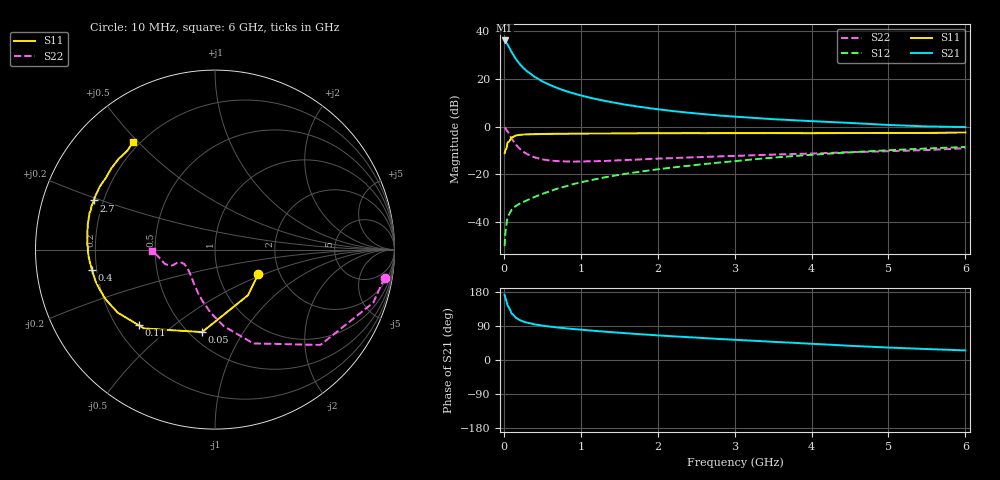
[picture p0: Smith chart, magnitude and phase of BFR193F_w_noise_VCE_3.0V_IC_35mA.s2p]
! Infineon Technologies  Discrete & RF Semiconductors
! BFR193F
! VCE =  3.0 V,  IC =  35 mA
! Common Emitter S-Parameters:  Jan 2017
# GHz  S  MA  R  50
!  f  S11  S21  S12  S22
! GHz  MAG  ANG  MAG  ANG  MAG  ANG  MAG  ANG
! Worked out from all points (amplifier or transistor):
!   77 points, 10 MHz to 6 GHz, reference 50 ohm
!   highest |S21| = 36.2 dB at 10 MHz (marker M1)
!   |S21| within 3 dB of that: start of sweep to 70.64 MHz
!   unconditionally stable (mu >= 1): 994.3 MHz to 2.669 GHz
!   at 130 MHz: K = 0.42, MSG = 31.9 dB, |S12| = -34.0 dB
!   at 2.2 GHz: K = 1.02, MAG = 11.0 dB, |S12| = -17.1 dB
!   at 6 GHz: K = 0.88, MSG = 4.2 dB, |S12| = -8.5 dB
!   lowest NFmin = 1.26 dB at 450 MHz
!   S11 on the Smith chart (normalised r, x): 10 MHz: 1.56, -0.45; 50 MHz: 0.58, -0.68; 110 MHz: 0.29, -0.38; 400 MHz: 0.18, -0.08; 2.7 GHz: 0.16, +0.19; 6 GHz: 0.17, +0.49
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0.01  0.2767 -29.2  64.27 171.9  0.0031 84.8  0.9575 -9.4
0.02  0.3136 -54.0  62.08 163.5  0.0058 74.5  0.9302 -18.5
0.05  0.4653 -98.9  52.64 143.4  0.0126 63.4  0.7922 -42.1
0.1  0.5909 -132.0  36.88 123.1  0.0178 52.7  0.5652 -67.7
0.11  0.5984 -135.2  34.86 121.5  0.0185 51.7  0.5355 -70.2
0.15  0.646 -147.1  27.16 112.6  0.0213 48.3  0.43 -83.4
0.2  0.6692 -155.5  21.18 106.1  0.0239 50.1  0.3517 -94.1
0.25  0.6809 -161.4  17.25 101.8  0.0262 51.5  0.2982 -102.9
0.3  0.6885 -165.2  14.56 98.7  0.0284 53.7  0.2672 -109.7
0.4  0.6946 -170.6  11.05 94.0  0.0335 58.3  0.2266 -120.7
0.5  0.7003 -174.0  8.903 90.8  0.0388 61.2  0.2052 -128.7
0.6  0.7052 -176.9  7.462 88.1  0.0441 63.9  0.1939 -135.4
0.7  0.7085 -179.4  6.41 85.7  0.0503 65.7  0.189 -140.1
0.9  0.7128 177.0  5.013 81.8  0.0621 68.4  0.1847 -147.5
1.1  0.7147 174.0  4.118 78.3  0.0734 70.0  0.187 -152.0
1.5  0.7221 169.1  3.05 72.0  0.0974 71.4  0.197 -157.5
2.1  0.7272 163.0  2.216 63.8  0.133 71.6  0.2156 -160.4
2.7  0.7286 157.9  1.768 56.7  0.1698 70.7  0.234 -160.4
3.1  0.7305 154.4  1.583 52.3  0.1952 69.9  0.2462 -159.8
4.1  0.7285 145.6  1.281 41.8  0.263 65.7  0.2759 -161.8
5.1  0.7366 135.7  1.068 32.1  0.3247 59.9  0.3085 -170.4
6  0.7545 127.1  0.978 25.3  0.3743 54.6  0.3522 -179.1
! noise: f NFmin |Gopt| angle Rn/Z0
0.45  1.26  0.42  178  0.06
0.9  1.35  0.44  178  0.07
1.9  1.9  0.58  -166  0.08
2.4  2.2  0.61  -157  0.12
